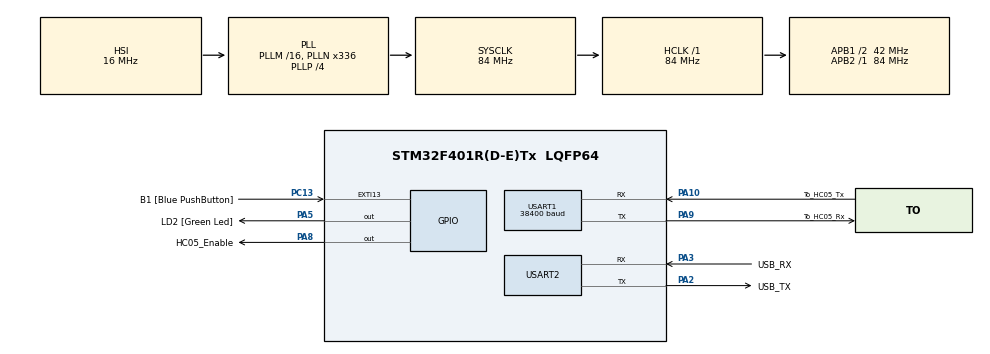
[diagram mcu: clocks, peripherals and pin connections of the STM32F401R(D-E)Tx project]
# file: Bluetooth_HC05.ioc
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Mcu.Family=STM32F4
Mcu.Name=STM32F401R(D-E)Tx
Mcu.Package=LQFP64
NVIC.PriorityGroup=NVIC_PRIORITYGROUP_4
PA10.GPIO_Label=To_HC05_Tx
PA10.Mode=Asynchronous
PA10.Signal=USART1_RX
PA13.GPIO_Label=TMS
PA13.Mode=Trace_Asynchronous_SW
PA13.Signal=SYS_JTMS-SWDIO
PA14.GPIO_Label=TCK
PA14.Mode=Trace_Asynchronous_SW
PA14.Signal=SYS_JTCK-SWCLK
PA2.GPIO_Label=USB_TX
PA2.GPIO_Mode=GPIO_MODE_AF_PP
PA2.GPIO_PuPd=GPIO_NOPULL
PA2.GPIO_Speed=GPIO_SPEED_FREQ_LOW
PA2.Mode=Asynchronous
PA2.Signal=USART2_TX
PA3.GPIO_Label=USB_RX
PA3.GPIO_Mode=GPIO_MODE_AF_PP
PA3.GPIO_PuPd=GPIO_NOPULL
PA3.GPIO_Speed=GPIO_SPEED_FREQ_LOW
PA3.Mode=Asynchronous
PA3.Signal=USART2_RX
PA5.GPIO_Label=LD2 [Green Led]
PA5.GPIO_Mode=GPIO_MODE_OUTPUT_PP
PA5.GPIO_PuPd=GPIO_NOPULL
PA5.GPIO_Speed=GPIO_SPEED_FREQ_LOW
PA5.Signal=GPIO_Output
PA8.GPIO_Label=HC05_Enable
PA8.Signal=GPIO_Output
PA9.GPIO_Label=To_HC05_Rx
PA9.Mode=Asynchronous
PA9.Signal=USART1_TX
PB3.GPIO_Label=SWO
PB3.Mode=Trace_Asynchronous_SW
PB3.Signal=SYS_JTDO-SWO
PC13-ANTI_TAMP.GPIO_Label=B1 [Blue PushButton]
PC13-ANTI_TAMP.GPIO_ModeDefaultEXTI=GPIO_MODE_IT_FALLING
PC13-ANTI_TAMP.GPIO_PuPd=GPIO_NOPULL
PC13-ANTI_TAMP.Signal=GPXTI13
PC14-OSC32_IN.Mode=LSE-External-Oscillator
PC14-OSC32_IN.Signal=RCC_OSC32_IN
PC15-OSC32_OUT.Mode=LSE-External-Oscillator
PC15-OSC32_OUT.Signal=RCC_OSC32_OUT
PH0\ -\ OSC_IN.Mode=HSE-External-Clock-Source
PH0\ -\ OSC_IN.Signal=RCC_OSC_IN
PH1\ -\ OSC_OUT.Mode=HSE-External-Clock-Source
PH1\ -\ OSC_OUT.Signal=RCC_OSC_OUT
ProjectManager.HeapSize=0x200
ProjectManager.StackSize=0x400
ProjectManager.TargetToolchain=STM32CubeIDE
RCC.48MHZClocksFreq_Value=48000000
RCC.AHBFreq_Value=84000000
RCC.APB1CLKDivider=RCC_HCLK_DIV2
RCC.APB1Freq_Value=42000000
RCC.APB1TimFreq_Value=84000000
RCC.APB2Freq_Value=84000000
RCC.APB2TimFreq_Value=84000000
RCC.CortexFreq_Value=84000000
RCC.HCLKFreq_Value=84000000
RCC.HSE_VALUE=8000000
RCC.HSI_VALUE=16000000
RCC.PLLN=336
RCC.PLLP=RCC_PLLP_DIV4
RCC.PLLQ=7
RCC.SYSCLKFreq_VALUE=84000000
RCC.SYSCLKSource=RCC_SYSCLKSOURCE_PLLCLK
RCC.VCOOutputFreq_Value=336000000
USART1.BaudRate=38400
USART1.VirtualMode=VM_ASYNC
USART2.VirtualMode=VM_ASYNC
board=NUCLEO-F401RE

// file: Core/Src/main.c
/* USER CODE BEGIN Header */
/**
  ******************************************************************************
  * @file           : main.c
  * @brief          : Main program body
  ******************************************************************************
  * @attention
  *
  * Copyright (c) 2025 STMicroelectronics.
  * All rights reserved.
  *
  * This software is licensed under terms that can be found in the LICENSE file
  * in the root directory of this software component.
  * If no LICENSE file comes with this software, it is provided AS-IS.
  *
  ******************************************************************************
  */
/* USER CODE END Header */
#include "main.h"

/* USER CODE BEGIN Includes */
#include "hc05_driver.h"
#include <stdio.h>
#include <string.h>
/* USER CODE END Includes */

/* USER CODE BEGIN PD */
// Command definitions
#define CMD_LED_ON    "ledon"
#define CMD_LED_OFF   "ledoff"
#define CMD_HELP      "help"
/* USER CODE END PD */

UART_HandleTypeDef huart1;
UART_HandleTypeDef huart2;

/* USER CODE BEGIN PV */
HC05_HandleTypeDef hc05; // HC-05 Bluetooth module driver structure
/* USER CODE END PV */

void SystemClock_Config(void);
static void MX_GPIO_Init(void);
static void MX_USART2_UART_Init(void);
static void MX_USART1_UART_Init(void);
/* USER CODE BEGIN PFP */
// Command dispatcher function prototypes
void ProcessBluetoothCommand(const char* command);
void SendCommandResponse(const char* response);
void ShowAvailableCommands(void);
/* USER CODE END PFP */

/* USER CODE BEGIN 0 */
/**
  * @brief  Printf redirect to UART2 (Virtual COM Port)
  * @param  ch: character to send
  * @param  f: file pointer
  * @retval character sent
  */
int __io_putchar(int ch)
{
  HAL_UART_Transmit(&huart2, (uint8_t *)&ch, 1, HAL_MAX_DELAY);
  return ch;
}

/**
  * @brief  Process received Bluetooth commands
  * @param  command: received command string
  * @retval None
  */
void ProcessBluetoothCommand(const char* command)
{
  // Convert command to lowercase for case-insensitive comparison
  char cmd_lower[HC05_BUFFER_SIZE];
  strncpy(cmd_lower, command, sizeof(cmd_lower) - 1);
  cmd_lower[sizeof(cmd_lower) - 1] = '\0';

  // Convert to lowercase
  for(int i = 0; cmd_lower[i]; i++){
    if(cmd_lower[i] >= 'A' && cmd_lower[i] <= 'Z'){
      cmd_lower[i] = cmd_lower[i] + 32;
    }
  }

  printf("Processing command: '%s'\r\n", cmd_lower);

  // Command dispatcher
  if (strcmp(cmd_lower, CMD_LED_ON) == 0) {
    // Turn ON LED2 (User LED on Nucleo board)
    HAL_GPIO_WritePin(LD2_GPIO_Port, LD2_Pin, GPIO_PIN_SET);
    SendCommandResponse("LED ON - User LED activated");
    printf("Command executed: LED turned ON\r\n");
  }
  else if (strcmp(cmd_lower, CMD_LED_OFF) == 0) {
    // Turn OFF LED2 (User LED on Nucleo board)
    HAL_GPIO_WritePin(LD2_GPIO_Port, LD2_Pin, GPIO_PIN_RESET);
    SendCommandResponse("LED OFF - User LED deactivated");
    printf("Command executed: LED turned OFF\r\n");
  }
  else if (strcmp(cmd_lower, CMD_HELP) == 0) {
    // Show available commands
    ShowAvailableCommands();
  }
  else {
    // Unknown command
    char error_msg[128];
    snprintf(error_msg, sizeof(error_msg), "Unknown command: '%s'. Type 'help' for available commands.", command);
    SendCommandResponse(error_msg);
    printf("Unknown command received: '%s'\r\n", command);
  }
}

/**
  * @brief  Send response back via Bluetooth
  * @param  response: response string to send
  * @retval None
  */
void SendCommandResponse(const char* response)
{
  char full_response[HC05_BUFFER_SIZE + 50];
  snprintf(full_response, sizeof(full_response), "[STM32]: %s\r\n", response);
  HC05_SendData(&hc05, full_response);
}

/**
  * @brief  Show available commands via Bluetooth
  * @retval None
  */
void ShowAvailableCommands(void)
{
  HC05_SendData(&hc05, "\r\n=== STM32 Nucleo Commands ===\r\n");
  HC05_SendData(&hc05, "ledon  - Turn ON user LED\r\n");
  HC05_SendData(&hc05, "ledoff - Turn OFF user LED\r\n");
  HC05_SendData(&hc05, "help   - Show this help\r\n");
  HC05_SendData(&hc05, "=============================\r\n");
  printf("Help commands sent via Bluetooth\r\n");
}
/* USER CODE END 0 */

int main(void)
{

  /* MCU Configuration--------------------------------------------------------*/

  /* Reset of all peripherals, Initializes the Flash interface and the Systick. */
  HAL_Init();

  /* Configure the system clock */
  SystemClock_Config();

  /* Initialize all configured peripherals */
  MX_GPIO_Init();
  MX_USART2_UART_Init();
  MX_USART1_UART_Init();
  /* USER CODE BEGIN 2 */

  /* Wait for system stabilization */
    HAL_Delay(1000);

    /* Initialize HC-05 module on UART1 */
    if (HC05_Init(&hc05, &huart1, GPIOA, GPIO_PIN_8) == HC05_OK) {
      printf("HC-05 initialized successfully\r\n");
    } else {
      printf("HC-05 initialization error\r\n");
    }

    /* Optional HC-05 module configuration */
    HAL_Delay(1000);

    // Example: set device name
    if (HC05_SetName(&hc05, "STM32_HC05") == HC05_OK) {
      printf("Name set: STM32_HC05\r\n");
    }

    // Example: set pairing PIN
    if (HC05_SetPIN(&hc05, "1234") == HC05_OK) {
      printf("PIN set: 1234\r\n");
    }

    printf("System ready - Waiting for Bluetooth commands...\r\n");
    printf("Available commands: ledon, ledoff, help\r\n");

    /* Send welcome message via Bluetooth */
    HAL_Delay(500);
    HC05_SendData(&hc05, "\r\n*** STM32 Nucleo HC-05 Controller ***\r\n");
    HC05_SendData(&hc05, "System ready! Type 'help' for commands.\r\n");

    /* Test UART - send test character every 30 seconds */
    uint32_t last_test = 0;

  /* USER CODE END 2 */

  /* Infinite loop */
  /* USER CODE BEGIN WHILE */
   while (1)
   {
	   // Periodic test: send heartbeat via Bluetooth every 30 seconds
	    if (HAL_GetTick() - last_test > 30000) {
	      printf("Sending heartbeat via Bluetooth...\r\n");
	      HC05_SendData(&hc05, "[STM32]: Heartbeat - System running OK\r\n");
	      last_test = HAL_GetTick();
	    }

	    // Check if data is available from Bluetooth
	    if (HC05_DataAvailable(&hc05)) {
	      char received_data[HC05_BUFFER_SIZE];

	      // Read received data
	      if (HC05_ReceiveData(&hc05, received_data, sizeof(received_data)) == HC05_OK) {
	        // Print received command via Virtual COM Port
	        printf("BT RX: '%s'\r\n", received_data);

	        // Process the received command through dispatcher
	        ProcessBluetoothCommand(received_data);
	      }
	    }

	    HAL_Delay(10); // Small pause to avoid overloading the loop
    /* USER CODE END WHILE */

   }
}

void SystemClock_Config(void)
{
  RCC_OscInitTypeDef RCC_OscInitStruct = {0};
  RCC_ClkInitTypeDef RCC_ClkInitStruct = {0};

  /** Configure the main internal regulator output voltage
  */
  __HAL_RCC_PWR_CLK_ENABLE();
  __HAL_PWR_VOLTAGESCALING_CONFIG(PWR_REGULATOR_VOLTAGE_SCALE2);

  /** Initializes the RCC Oscillators according to the specified parameters
  * in the RCC_OscInitTypeDef structure.
  */
  RCC_OscInitStruct.OscillatorType = RCC_OSCILLATORTYPE_HSI;
  RCC_OscInitStruct.HSIState = RCC_HSI_ON;
  RCC_OscInitStruct.HSICalibrationValue = RCC_HSICALIBRATION_DEFAULT;
  RCC_OscInitStruct.PLL.PLLState = RCC_PLL_ON;
  RCC_OscInitStruct.PLL.PLLSource = RCC_PLLSOURCE_HSI;
  RCC_OscInitStruct.PLL.PLLM = 16;
  RCC_OscInitStruct.PLL.PLLN = 336;
  RCC_OscInitStruct.PLL.PLLP = RCC_PLLP_DIV4;
  RCC_OscInitStruct.PLL.PLLQ = 7;
  if (HAL_RCC_OscConfig(&RCC_OscInitStruct) != HAL_OK)
  {
    Error_Handler();
  }

  /** Initializes the CPU, AHB and APB buses clocks
  */
  RCC_ClkInitStruct.ClockType = RCC_CLOCKTYPE_HCLK|RCC_CLOCKTYPE_SYSCLK
                              |RCC_CLOCKTYPE_PCLK1|RCC_CLOCKTYPE_PCLK2;
  RCC_ClkInitStruct.SYSCLKSource = RCC_SYSCLKSOURCE_PLLCLK;
  RCC_ClkInitStruct.AHBCLKDivider = RCC_SYSCLK_DIV1;
  RCC_ClkInitStruct.APB1CLKDivider = RCC_HCLK_DIV2;
  RCC_ClkInitStruct.APB2CLKDivider = RCC_HCLK_DIV1;

  if (HAL_RCC_ClockConfig(&RCC_ClkInitStruct, FLASH_LATENCY_2) != HAL_OK)
  {
    Error_Handler();
  }
}

static void MX_USART1_UART_Init(void)
{

  huart1.Instance = USART1;
  huart1.Init.BaudRate = 9600;
  huart1.Init.WordLength = UART_WORDLENGTH_8B;
  huart1.Init.StopBits = UART_STOPBITS_1;
  huart1.Init.Parity = UART_PARITY_NONE;
  huart1.Init.Mode = UART_MODE_TX_RX;
  huart1.Init.HwFlowCtl = UART_HWCONTROL_NONE;
  huart1.Init.OverSampling = UART_OVERSAMPLING_16;
  if (HAL_UART_Init(&huart1) != HAL_OK)
  {
    Error_Handler();
  }
  /* USER CODE BEGIN USART1_Init 2 */
  /* Enable UART1 interrupt */
    HAL_NVIC_SetPriority(USART1_IRQn, 0, 0);
    HAL_NVIC_EnableIRQ(USART1_IRQn);
  /* USER CODE END USART1_Init 2 */

}

static void MX_USART2_UART_Init(void)
{

  huart2.Instance = USART2;
  huart2.Init.BaudRate = 115200;
  huart2.Init.WordLength = UART_WORDLENGTH_8B;
  huart2.Init.StopBits = UART_STOPBITS_1;
  huart2.Init.Parity = UART_PARITY_NONE;
  huart2.Init.Mode = UART_MODE_TX_RX;
  huart2.Init.HwFlowCtl = UART_HWCONTROL_NONE;
  huart2.Init.OverSampling = UART_OVERSAMPLING_16;
  if (HAL_UART_Init(&huart2) != HAL_OK)
  {
    Error_Handler();
  }

}

static void MX_GPIO_Init(void)
{
  GPIO_InitTypeDef GPIO_InitStruct = {0};

  /* GPIO Ports Clock Enable */
  __HAL_RCC_GPIOC_CLK_ENABLE();
  __HAL_RCC_GPIOH_CLK_ENABLE();
  __HAL_RCC_GPIOA_CLK_ENABLE();
  __HAL_RCC_GPIOB_CLK_ENABLE();

  /*Configure GPIO pin Output Level */
  HAL_GPIO_WritePin(GPIOA, LD2_Pin|HC05_Enable_Pin, GPIO_PIN_RESET);

  /*Configure GPIO pin : B1_Pin */
  GPIO_InitStruct.Pin = B1_Pin;
  GPIO_InitStruct.Mode = GPIO_MODE_IT_FALLING;
  GPIO_InitStruct.Pull = GPIO_NOPULL;
  HAL_GPIO_Init(B1_GPIO_Port, &GPIO_InitStruct);

  /*Configure GPIO pins : LD2_Pin HC05_Enable_Pin */
  GPIO_InitStruct.Pin = LD2_Pin|HC05_Enable_Pin;
  GPIO_InitStruct.Mode = GPIO_MODE_OUTPUT_PP;
  GPIO_InitStruct.Pull = GPIO_NOPULL;
  GPIO_InitStruct.Speed = GPIO_SPEED_FREQ_LOW;
  HAL_GPIO_Init(GPIOA, &GPIO_InitStruct);

}

/* USER CODE BEGIN 4 */
/**
  * @brief  UART interrupt callback function
  * @param  huart: UART handle
  * @retval None
  */
void HAL_UART_RxCpltCallback(UART_HandleTypeDef *huart)
{
  if (huart->Instance == USART1) {
    // Call HC-05 driver interrupt handler
    HC05_IRQHandler(&hc05);
  }
}

/**
  * @brief  This function handles USART1 global interrupt.
  * @param  None
  * @retval None
  */
void USART1_IRQHandler(void)
{
  HAL_UART_IRQHandler(&huart1);
}
/* USER CODE END 4 */

void Error_Handler(void)
{
  __disable_irq();
  while (1)
  {
  }
}
